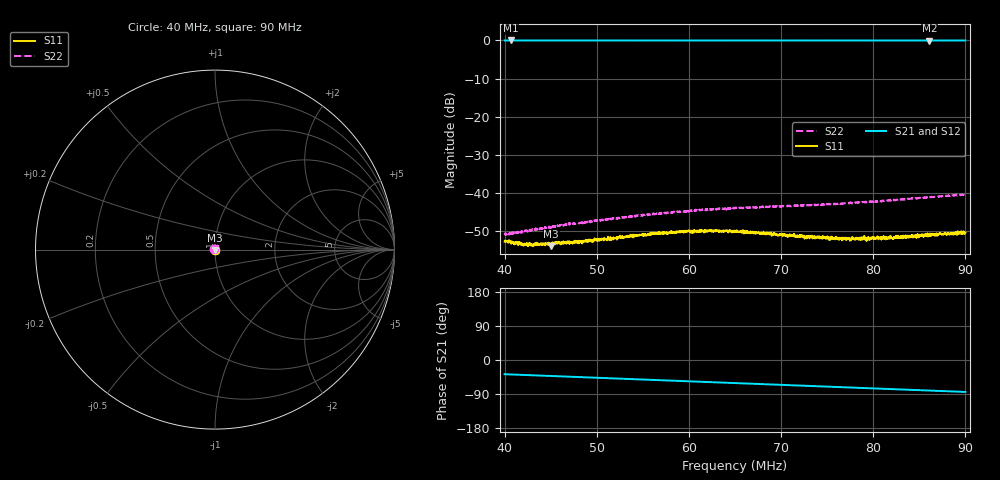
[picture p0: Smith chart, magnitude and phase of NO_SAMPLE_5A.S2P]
!Agilent Technologies,E5061B,MY49102235,A.02.00
!Date: Mon Jul 03 10:45:16 2023
!Data & Calibration Information:
!Freq	S11:SOLT2(ON)	S21:SOLT2(ON)	S12:SOLT2(ON)	S22:SOLT2(ON)
# Hz S RI R 50
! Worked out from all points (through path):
!   1600 points, 40 MHz to 90 MHz, reference 50 ohm
!   highest |S21| = 0.00 dB at 40.69 MHz (marker M1); lowest = 0.0 dB at 86.09 MHz (marker M2)
!   group delay of S21, straight-line fit = 2.6 ns
!   lowest |S11| = -53.9 dB at 45.07 MHz (marker M3), VSWR 1.00, Z = 49.9 - j0.193 ohm
!   |S11| at or under -10 dB: start of sweep to end of sweep
!   |S22| runs from -51.0 to -40.4 dB; largest |S21 - S12| = 0.0012
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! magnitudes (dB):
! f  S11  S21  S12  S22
! 40 MHz  -52.7  0.0  0.0  -50.8
! 40.69 MHz  -53.0  0.0  0.0  -50.6
! 41.97 MHz  -53.3  0.0  0.0  -50.3
! 43.03 MHz  -53.9  0.0  0.0  -49.4
! 45.07 MHz  -53.9  0.0  0.0  -49.0
! 45.78 MHz  -53.2  0.0  0.0  -48.5
! 48.35 MHz  -52.7  0.0  0.0  -47.7
! 56.67 MHz  -50.3  0.0  0.0  -45.1
! 58.45 MHz  -50.5  0.0  0.0  -45.0
! 59.92 MHz  -50.0  0.0  0.0  -44.8
! 65.02 MHz  -50.0  0.0  0.0  -44.0
! 68.27 MHz  -50.4  0.0  0.0  -43.5
! 70.68 MHz  -51.4  0.0  0.0  -43.5
! 72.27 MHz  -51.3  0.0  0.0  -43.3
! 72.61 MHz  -51.3  0.0  0.0  -43.3
! 73.36 MHz  -51.1  0.0  0.0  -43.1
! 77.4 MHz  -52.0  0.0  0.0  -42.7
! 79.34 MHz  -52.3  0.0  0.0  -42.3
! 81.68 MHz  -51.6  0.0  0.0  -41.8
! 82.21 MHz  -52.0  0.0  0.0  -41.9
! 86.09 MHz  -50.6  0.0  0.0  -41.1
! 90 MHz  -50.3  0.0  0.0  -40.4
